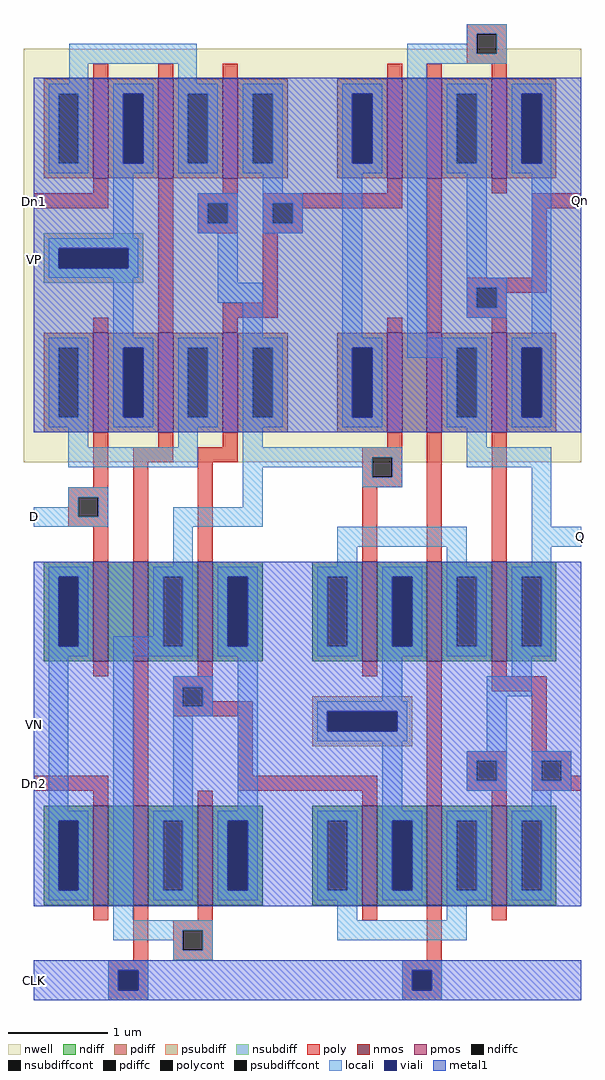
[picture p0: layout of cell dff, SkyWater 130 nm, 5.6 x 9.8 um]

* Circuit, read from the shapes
.subckt dff CLK D Dn1 Dn2 Q Qn VN VP
XM1 n1 Dn2 VN VN sky130_fd_pr__nfet_01v8 w=1 l=0.15
XM2 n2 D VN VN sky130_fd_pr__nfet_01v8 w=1 l=0.15
XM3 n3 CLK n1 VN sky130_fd_pr__nfet_01v8 w=1 l=0.15
XM4 n4 CLK n2 VN sky130_fd_pr__nfet_01v8 w=1 l=0.15
XM5 VN n4 n3 VN sky130_fd_pr__nfet_01v8 w=1 l=0.15
XM6 VN n3 n4 VN sky130_fd_pr__nfet_01v8 w=1 l=0.15
XM7 VN n3 n5 VN sky130_fd_pr__nfet_01v8 w=1 l=0.15
XM8 VN n4 n6 VN sky130_fd_pr__nfet_01v8 w=1 l=0.15
XM9 n5 CLK VN VN sky130_fd_pr__nfet_01v8 w=1 l=0.15
XM10 n6 CLK VN VN sky130_fd_pr__nfet_01v8 w=1 l=0.15
XM11 Qn Q n5 VN sky130_fd_pr__nfet_01v8 w=1 l=0.15
XM12 Q Qn n6 VN sky130_fd_pr__nfet_01v8 w=1 l=0.15
XM13 VP D n7 VP sky130_fd_pr__pfet_01v8 w=1 l=0.15
XM14 VP Dn1 n8 VP sky130_fd_pr__pfet_01v8 w=1 l=0.15
XM15 n7 CLK VP VP sky130_fd_pr__pfet_01v8 w=1 l=0.15
XM16 n8 CLK VP VP sky130_fd_pr__pfet_01v8 w=1 l=0.15
XM17 n4 n3 n7 VP sky130_fd_pr__pfet_01v8 w=1 l=0.15
XM18 n3 n4 n8 VP sky130_fd_pr__pfet_01v8 w=1 l=0.15
XM19 n9 n4 VP VP sky130_fd_pr__pfet_01v8 w=1 l=0.15
XM20 n10 n3 VP VP sky130_fd_pr__pfet_01v8 w=1 l=0.15
XM21 Q CLK n9 VP sky130_fd_pr__pfet_01v8 w=1 l=0.15
XM22 Qn CLK n10 VP sky130_fd_pr__pfet_01v8 w=1 l=0.15
XM23 VP Qn Q VP sky130_fd_pr__pfet_01v8 w=1 l=0.15
XM24 VP Q Qn VP sky130_fd_pr__pfet_01v8 w=1 l=0.15
.ends

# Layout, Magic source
magic
tech sky130A
<< nwell >>
rect -70 570 490 985
<< nmos >>
rect 0 370 15 470
rect 40 370 55 470
rect 105 370 120 470
rect 270 370 285 470
rect 335 370 350 470
rect 400 370 415 470
rect 0 125 15 225
rect 40 125 55 225
rect 105 125 120 225
rect 270 125 285 225
rect 335 125 350 225
rect 400 125 415 225
<< pmos >>
rect 0 855 15 955
rect 65 855 80 955
rect 130 855 145 955
rect 295 855 310 955
rect 335 855 350 955
rect 400 855 415 955
rect 0 600 15 700
rect 65 600 80 700
rect 130 600 145 700
rect 295 600 310 700
rect 335 600 350 700
rect 400 600 415 700
<< ndiff >>
rect -50 455 0 470
rect -50 385 -35 455
rect -15 385 0 455
rect -50 370 0 385
rect 15 370 40 470
rect 55 455 105 470
rect 55 385 70 455
rect 90 385 105 455
rect 55 370 105 385
rect 120 455 170 470
rect 120 385 135 455
rect 155 385 170 455
rect 120 370 170 385
rect 220 455 270 470
rect 220 385 235 455
rect 255 385 270 455
rect 220 370 270 385
rect 285 455 335 470
rect 285 385 300 455
rect 320 385 335 455
rect 285 370 335 385
rect 350 455 400 470
rect 350 385 365 455
rect 385 385 400 455
rect 350 370 400 385
rect 415 455 465 470
rect 415 385 430 455
rect 450 385 465 455
rect 415 370 465 385
rect -50 210 0 225
rect -50 140 -35 210
rect -15 140 0 210
rect -50 125 0 140
rect 15 125 40 225
rect 55 210 105 225
rect 55 140 70 210
rect 90 140 105 210
rect 55 125 105 140
rect 120 210 170 225
rect 120 140 135 210
rect 155 140 170 210
rect 120 125 170 140
rect 220 210 270 225
rect 220 140 235 210
rect 255 140 270 210
rect 220 125 270 140
rect 285 210 335 225
rect 285 140 300 210
rect 320 140 335 210
rect 285 125 335 140
rect 350 210 400 225
rect 350 140 365 210
rect 385 140 400 210
rect 350 125 400 140
rect 415 210 465 225
rect 415 140 430 210
rect 450 140 465 210
rect 415 125 465 140
<< pdiff >>
rect -50 940 0 955
rect -50 870 -35 940
rect -15 870 0 940
rect -50 855 0 870
rect 15 940 65 955
rect 15 870 30 940
rect 50 870 65 940
rect 15 855 65 870
rect 80 940 130 955
rect 80 870 95 940
rect 115 870 130 940
rect 80 855 130 870
rect 145 940 195 955
rect 145 870 160 940
rect 180 870 195 940
rect 145 855 195 870
rect 245 940 295 955
rect 245 870 260 940
rect 280 870 295 940
rect 245 855 295 870
rect 310 855 335 955
rect 350 940 400 955
rect 350 870 365 940
rect 385 870 400 940
rect 350 855 400 870
rect 415 940 465 955
rect 415 870 430 940
rect 450 870 465 940
rect 415 855 465 870
rect -50 685 0 700
rect -50 615 -35 685
rect -15 615 0 685
rect -50 600 0 615
rect 15 685 65 700
rect 15 615 30 685
rect 50 615 65 685
rect 15 600 65 615
rect 80 685 130 700
rect 80 615 95 685
rect 115 615 130 685
rect 80 600 130 615
rect 145 685 195 700
rect 145 615 160 685
rect 180 615 195 685
rect 145 600 195 615
rect 245 685 295 700
rect 245 615 260 685
rect 280 615 295 685
rect 245 600 295 615
rect 310 600 335 700
rect 350 685 400 700
rect 350 615 365 685
rect 385 615 400 685
rect 350 600 400 615
rect 415 685 465 700
rect 415 615 430 685
rect 450 615 465 685
rect 415 600 465 615
<< ndiffc >>
rect -35 385 -15 455
rect 70 385 90 455
rect 135 385 155 455
rect 235 385 255 455
rect 300 385 320 455
rect 365 385 385 455
rect 430 385 450 455
rect -35 140 -15 210
rect 70 140 90 210
rect 135 140 155 210
rect 235 140 255 210
rect 300 140 320 210
rect 365 140 385 210
rect 430 140 450 210
<< pdiffc >>
rect -35 870 -15 940
rect 30 870 50 940
rect 95 870 115 940
rect 160 870 180 940
rect 260 870 280 940
rect 365 870 385 940
rect 430 870 450 940
rect -35 615 -15 685
rect 30 615 50 685
rect 95 615 115 685
rect 160 615 180 685
rect 260 615 280 685
rect 365 615 385 685
rect 430 615 450 685
<< psubdiff >>
rect 220 320 320 335
rect 220 300 235 320
rect 305 300 320 320
rect 220 285 320 300
<< nsubdiff >>
rect -50 785 50 800
rect -50 765 -35 785
rect 35 765 50 785
rect -50 750 50 765
<< psubdiffcont >>
rect 235 300 305 320
<< nsubdiffcont >>
rect -35 765 35 785
<< poly >>
rect 375 1000 415 1010
rect 375 980 385 1000
rect 405 980 415 1000
rect 375 970 415 980
rect 0 955 15 970
rect 65 955 80 970
rect 130 955 145 970
rect 295 955 310 970
rect 335 955 350 970
rect 400 955 415 970
rect 0 840 15 855
rect -60 825 15 840
rect 0 700 15 715
rect 65 700 80 855
rect 130 840 145 855
rect 295 840 310 855
rect 105 830 145 840
rect 105 810 115 830
rect 135 810 145 830
rect 105 800 145 810
rect 170 830 310 840
rect 170 810 180 830
rect 200 825 310 830
rect 200 810 210 825
rect 170 800 210 810
rect 170 730 185 800
rect 130 715 185 730
rect 130 700 145 715
rect 295 700 310 715
rect 335 700 350 855
rect 400 840 415 855
rect 440 825 490 840
rect 440 755 455 825
rect 375 745 455 755
rect 375 725 385 745
rect 405 740 455 745
rect 405 725 415 740
rect 375 715 415 725
rect 400 700 415 715
rect 0 545 15 600
rect 65 585 80 600
rect 130 585 145 600
rect 295 585 310 600
rect -25 535 15 545
rect -25 515 -15 535
rect 5 515 15 535
rect -25 505 15 515
rect 0 470 15 505
rect 40 570 80 585
rect 105 570 145 585
rect 270 575 310 585
rect 40 470 55 570
rect 105 470 120 570
rect 270 555 280 575
rect 300 555 310 575
rect 270 545 310 555
rect 270 470 285 545
rect 335 470 350 600
rect 400 470 415 600
rect 0 355 15 370
rect -60 240 15 255
rect 0 225 15 240
rect 40 225 55 370
rect 105 355 120 370
rect 270 355 285 370
rect 80 344 120 355
rect 80 325 90 344
rect 110 330 120 344
rect 110 325 160 330
rect 80 315 160 325
rect 145 255 160 315
rect 145 240 285 255
rect 105 225 120 240
rect 270 225 285 240
rect 335 225 350 370
rect 400 355 415 370
rect 400 340 455 355
rect 440 280 455 340
rect 375 270 415 280
rect 375 250 385 270
rect 405 250 415 270
rect 375 240 415 250
rect 440 270 480 280
rect 440 250 450 270
rect 470 255 480 270
rect 470 250 490 255
rect 440 240 490 250
rect 400 225 415 240
rect 0 110 15 125
rect 40 70 55 125
rect 105 110 120 125
rect 270 110 285 125
rect 80 100 120 110
rect 80 80 90 100
rect 110 80 120 100
rect 80 70 120 80
rect 335 70 350 125
rect 400 110 415 125
rect 15 60 55 70
rect 15 40 25 60
rect 45 40 55 60
rect 15 30 55 40
rect 310 60 350 70
rect 310 40 320 60
rect 340 40 350 60
rect 310 30 350 40
<< polycont >>
rect 385 980 405 1000
rect 115 810 135 830
rect 180 810 200 830
rect 385 725 405 745
rect -15 515 5 535
rect 280 555 300 575
rect 90 325 110 344
rect 385 250 405 270
rect 450 250 470 270
rect 90 80 110 100
rect 25 40 45 60
rect 320 40 340 60
<< locali >>
rect 375 1000 415 1010
rect 375 990 385 1000
rect -24 970 104 990
rect -24 950 -5 970
rect 85 950 104 970
rect 315 980 385 990
rect 405 980 415 1000
rect 315 970 415 980
rect -45 940 -5 950
rect -45 870 -35 940
rect -15 870 -5 940
rect -45 860 -5 870
rect 20 940 60 950
rect 20 870 30 940
rect 50 870 60 940
rect 20 860 60 870
rect 85 940 125 950
rect 85 870 95 940
rect 115 870 125 940
rect 85 860 125 870
rect 150 940 190 950
rect 150 870 160 940
rect 180 870 190 940
rect 150 860 190 870
rect 20 795 40 860
rect 170 840 190 860
rect 250 940 290 950
rect 250 870 260 940
rect 280 870 290 940
rect 250 860 290 870
rect 105 830 145 840
rect 105 810 115 830
rect 135 810 145 830
rect 105 800 145 810
rect 170 830 210 840
rect 170 810 180 830
rect 200 810 210 830
rect 170 800 210 810
rect -45 785 45 795
rect -45 765 -35 785
rect 35 765 45 785
rect -45 755 45 765
rect 20 695 40 755
rect 125 750 145 800
rect 125 730 170 750
rect 150 695 170 730
rect 250 695 270 860
rect 315 695 335 970
rect 355 940 395 950
rect 355 870 365 940
rect 385 870 395 940
rect 355 860 395 870
rect 420 940 460 950
rect 420 870 430 940
rect 450 870 460 940
rect 420 860 460 870
rect 375 755 395 860
rect 375 745 415 755
rect 375 725 385 745
rect 405 725 415 745
rect 375 715 415 725
rect 440 695 460 860
rect -45 685 -5 695
rect -45 615 -35 685
rect -15 615 -5 685
rect -45 605 -5 615
rect 20 685 60 695
rect 20 615 30 685
rect 50 615 60 685
rect 20 605 60 615
rect 85 685 125 695
rect 85 615 95 685
rect 115 615 125 685
rect 85 605 125 615
rect 150 685 190 695
rect 150 615 160 685
rect 180 615 190 685
rect 150 605 190 615
rect 250 685 290 695
rect 250 615 260 685
rect 280 615 290 685
rect 315 685 395 695
rect 315 675 365 685
rect 250 605 290 615
rect 355 615 365 675
rect 385 615 395 685
rect 355 605 395 615
rect 420 685 460 695
rect 420 615 430 685
rect 450 615 460 685
rect 420 605 460 615
rect -25 585 -5 605
rect 85 585 105 605
rect -25 565 105 585
rect 150 585 170 605
rect 375 585 395 605
rect 150 575 310 585
rect 150 565 280 575
rect -25 535 15 545
rect -25 525 -15 535
rect -60 515 -15 525
rect 5 515 15 535
rect 150 525 170 565
rect 270 555 280 565
rect 300 555 310 575
rect 375 565 460 585
rect 270 545 310 555
rect -60 505 15 515
rect 80 505 170 525
rect 440 505 460 565
rect 80 465 100 505
rect 245 485 375 505
rect 245 465 265 485
rect 355 465 375 485
rect 440 485 490 505
rect 440 465 460 485
rect -45 455 -5 465
rect -45 385 -35 455
rect -15 385 -5 455
rect 60 455 100 465
rect 60 395 70 455
rect -45 375 -5 385
rect 20 385 70 395
rect 90 385 100 455
rect 20 375 100 385
rect 125 455 165 465
rect 125 385 135 455
rect 155 385 165 455
rect 125 375 165 385
rect 225 455 265 465
rect 225 385 235 455
rect 255 385 265 455
rect 225 375 265 385
rect 290 455 330 465
rect 290 385 300 455
rect 320 385 330 455
rect 290 375 330 385
rect 355 455 395 465
rect 355 385 365 455
rect 385 385 395 455
rect 355 375 395 385
rect 420 455 460 465
rect 420 385 430 455
rect 450 385 460 455
rect 420 375 460 385
rect -45 220 -25 375
rect -45 210 -5 220
rect -45 140 -35 210
rect -15 140 -5 210
rect -45 130 -5 140
rect 20 110 40 375
rect 80 344 120 355
rect 80 325 90 344
rect 110 325 120 344
rect 80 315 120 325
rect 80 220 100 315
rect 145 220 165 375
rect 290 330 310 375
rect 420 355 440 375
rect 395 335 440 355
rect 225 320 315 330
rect 225 300 235 320
rect 305 300 315 320
rect 225 290 315 300
rect 290 220 310 290
rect 395 280 415 335
rect 375 270 415 280
rect 375 250 385 270
rect 405 250 415 270
rect 375 240 415 250
rect 440 270 480 280
rect 440 250 450 270
rect 470 250 480 270
rect 440 240 480 250
rect 440 220 460 240
rect 60 210 100 220
rect 60 140 70 210
rect 90 140 100 210
rect 60 130 100 140
rect 125 210 165 220
rect 125 140 135 210
rect 155 140 165 210
rect 125 130 165 140
rect 225 210 265 220
rect 225 140 235 210
rect 255 140 265 210
rect 225 130 265 140
rect 290 210 330 220
rect 290 140 300 210
rect 320 140 330 210
rect 290 130 330 140
rect 355 210 395 220
rect 355 140 365 210
rect 385 140 395 210
rect 355 130 395 140
rect 420 210 460 220
rect 420 140 430 210
rect 450 140 460 210
rect 420 130 460 140
rect 245 110 265 130
rect 355 110 375 130
rect 20 100 120 110
rect 20 90 90 100
rect 80 80 90 90
rect 110 80 120 100
rect 245 90 375 110
rect 80 70 120 80
rect 15 60 55 70
rect 15 40 25 60
rect 45 40 55 60
rect 15 30 55 40
rect 310 60 350 70
rect 310 40 320 60
rect 340 40 350 60
rect 310 30 350 40
<< viali >>
rect 30 870 50 940
rect 260 870 280 940
rect -35 765 35 785
rect 430 870 450 940
rect 30 615 50 685
rect 260 615 280 685
rect 430 615 450 685
rect -35 385 -15 455
rect 135 385 155 455
rect 300 385 320 455
rect -35 140 -15 210
rect 235 300 305 320
rect 135 140 155 210
rect 300 140 320 210
rect 25 40 45 60
rect 320 40 340 60
<< metal1 >>
rect -60 940 490 956
rect -60 870 30 940
rect 50 870 260 940
rect 280 870 430 940
rect 450 870 490 940
rect -60 785 490 870
rect -60 765 -35 785
rect 35 765 490 785
rect -60 685 490 765
rect -60 615 30 685
rect 50 615 260 685
rect 280 615 430 685
rect 450 615 490 685
rect -60 600 490 615
rect -60 455 490 470
rect -60 385 -35 455
rect -15 385 135 455
rect 155 385 300 455
rect 320 385 490 455
rect -60 320 490 385
rect -60 300 235 320
rect 305 300 490 320
rect -60 210 490 300
rect -60 140 -35 210
rect -15 140 135 210
rect 155 140 300 210
rect 320 140 490 210
rect -60 124 490 140
rect -60 60 490 70
rect -60 40 25 60
rect 45 40 320 60
rect 340 40 490 60
rect -60 30 490 40
<< labels >>
rlabel metal1 -59 774 -59 774 7 VP
rlabel metal1 -59 307 -59 307 7 VN
rlabel metal1 -59 50 -59 50 7 CLK
rlabel locali -59 515 -59 515 7 D
rlabel poly -59 832 -59 832 7 Dn1
rlabel poly -59 247 -59 247 7 Dn2
rlabel locali 489 495 489 495 3 Q
rlabel poly 489 833 489 833 3 Qn
<< end >>
